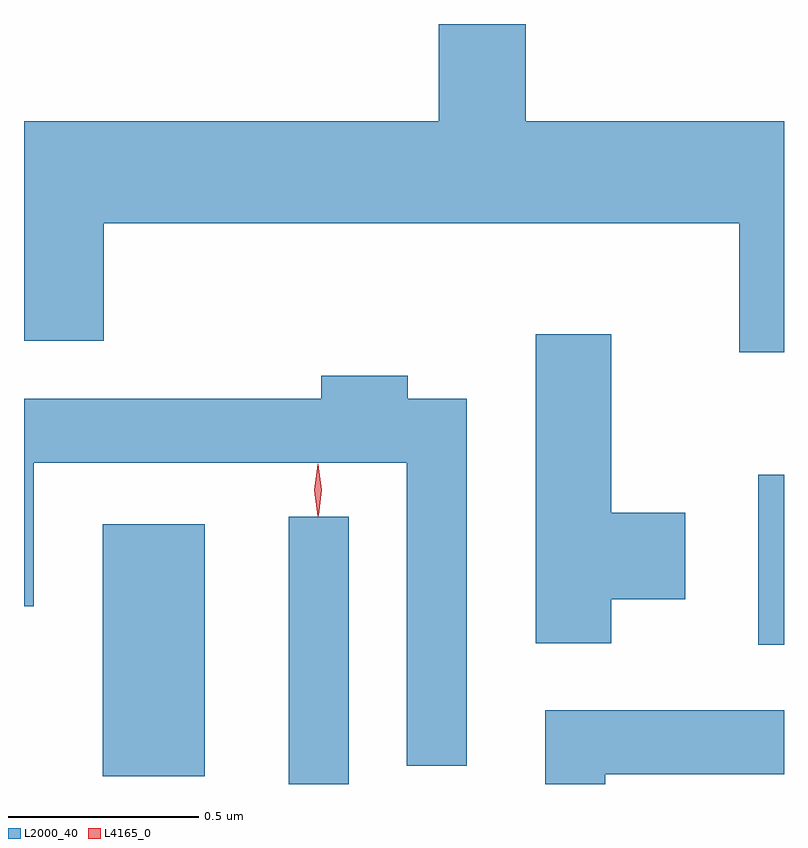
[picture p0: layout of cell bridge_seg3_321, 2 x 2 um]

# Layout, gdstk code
import gdstk
lib = gdstk.Library(unit=1e-6, precision=1e-09)
def R(c, l, rs):  # rectangles x0, y0, x1, y1
    for r in rs: c.add(gdstk.rectangle(r[:2], r[2:], *l))
def P(c, l, *ps):  # polygons
    for p in ps: c.add(gdstk.Polygon(p, *l))
L2000_40 = (2000, 40)
L4165_0 = (4165, 0)

bridge_seg3_321 = lib.new_cell('bridge_seg3_321')
R(bridge_seg3_321, L2000_40, [(550.236,1200.02,550.394,1200.723), (549.746,1200.041,550.014,1200.704), (551.471,1200.386,551.539,1200.834)])
P(bridge_seg3_321, L2000_40, [(551.539,1201.764),(550.859,1201.764),(550.859,1202.02),(550.631,1202.02),(550.631,1201.764),(549.539,1201.764),(549.539,1201.186),(549.749,1201.186),(549.749,1201.496),(551.421,1201.496),(551.421,1201.156),(551.539,1201.156)],
  [(551.084,1200.506),(551.279,1200.506),(551.279,1200.734),(551.084,1200.734),(551.084,1201.204),(550.886,1201.204),(550.886,1200.391),(551.084,1200.391)],
  [(550.704,1201.034),(550.549,1201.034),(550.549,1201.094),(550.321,1201.094),(550.321,1201.034),(549.539,1201.034),(549.539,1200.488),(549.564,1200.488),(549.564,1200.866),(550.546,1200.866),(550.546,1200.068),(550.704,1200.068)],
  [(551.069,1200.046),(551.539,1200.046),(551.539,1200.214),(550.911,1200.214),(550.911,1200.02),(551.069,1200.02)])
P(bridge_seg3_321, L4165_0, [(550.313,1200.727),(550.313,1200.727),(550.303,1200.794),(550.312,1200.86),(550.313,1200.86),(550.313,1200.86),(550.323,1200.794),(550.314,1200.727)],
  [(550.312,1200.724),(550.303,1200.793),(550.312,1200.862),(550.313,1200.863),(550.313,1200.862),(550.323,1200.793),(550.313,1200.724),(550.313,1200.724)])

lib.write_gds('bridge_seg3_321.gds')
